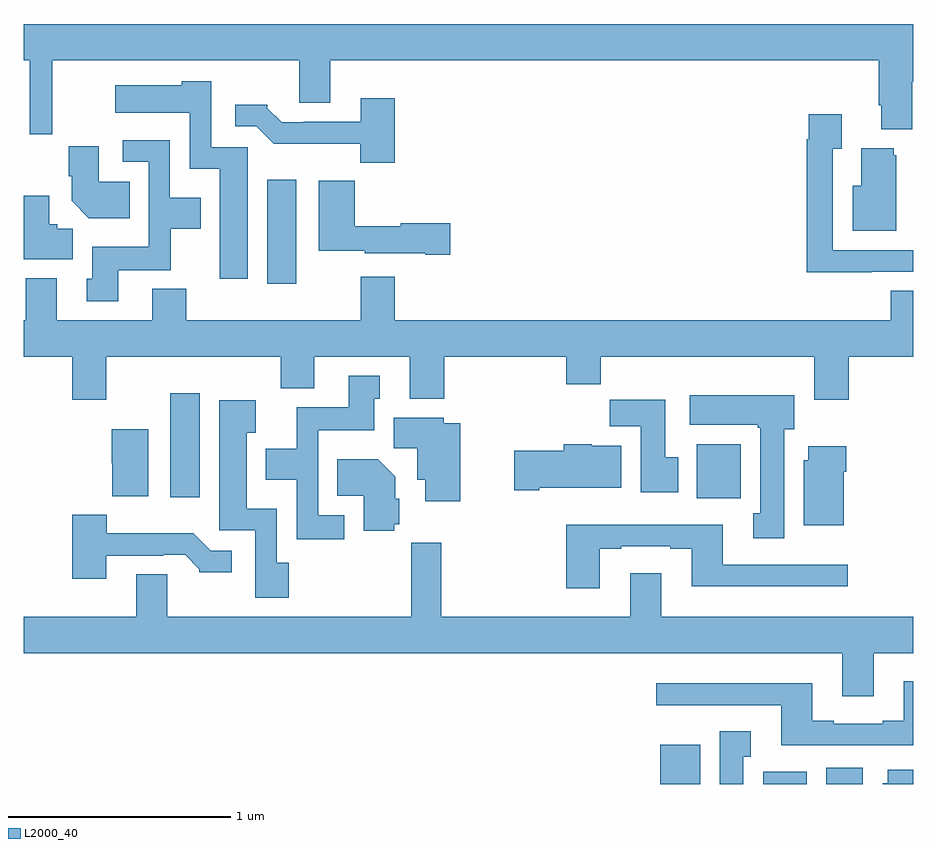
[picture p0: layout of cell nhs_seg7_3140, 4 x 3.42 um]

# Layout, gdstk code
import gdstk
lib = gdstk.Library(unit=1e-6, precision=1e-09)
def R(c, l, rs):  # rectangles x0, y0, x1, y1
    for r in rs: c.add(gdstk.rectangle(r[:2], r[2:], *l))
def P(c, l, *ps):  # polygons
    for p in ps: c.add(gdstk.Polygon(p, *l))
L2000_40 = (2000, 40)

nhs_seg7_3140 = lib.new_cell('nhs_seg7_3140')
R(nhs_seg7_3140, L2000_40, [(313.862,1028,314.041,1028.176), (314.324,1028,314.521,1028.056), (314.609,1028,314.773,1028.074), (314.027,1029.284,314.224,1029.526), (311.66,1029.288,311.791,1029.757), (312.095,1030.248,312.226,1030.717)])
P(nhs_seg7_3140, L2000_40, [(311.129,1031.252),(312.239,1031.252),(312.239,1031.062),(312.379,1031.062),(312.379,1031.252),(314.843,1031.252),(314.843,1031.05),(314.855,1031.05),(314.855,1030.943),(314.995,1030.943),(314.995,1031.156),(315,1031.156),(315,1031.416),(311,1031.416),(311,1031.252),(311.027,1031.252),(311.027,1030.92),(311.129,1030.92)],
  [(312.007,1030.863),(311.844,1030.863),(311.844,1031.158),(311.712,1031.158),(311.712,1031.14),(311.412,1031.14),(311.412,1031.018),(311.748,1031.018),(311.748,1030.766),(311.882,1030.766),(311.882,1030.272),(312.007,1030.272)],
  [(312.668,1031.083),(312.515,1031.083),(312.515,1030.977),(312.259,1030.977),(312.259,1030.974),(312.16,1030.974),(312.096,1031.038),(312.096,1031.053),(311.952,1031.053),(311.952,1030.956),(312.045,1030.956),(312.124,1030.878),(312.513,1030.878),(312.513,1030.793),(312.668,1030.793)],
  [(314.813,1030.302),(315,1030.302),(315,1030.398),(314.637,1030.398),(314.637,1030.855),(314.677,1030.855),(314.677,1031.011),(314.529,1031.011),(314.529,1030.898),(314.521,1030.898),(314.521,1030.301),(314.813,1030.301)],
  [(311.425,1030.31),(311.661,1030.31),(311.661,1030.496),(311.797,1030.496),(311.797,1030.636),(311.658,1030.636),(311.658,1030.893),(311.445,1030.893),(311.445,1030.797),(311.562,1030.797),(311.562,1030.414),(311.309,1030.414),(311.309,1030.272),(311.285,1030.272),(311.285,1030.17),(311.425,1030.17)],
  [(311.477,1030.708),(311.338,1030.708),(311.338,1030.867),(311.204,1030.867),(311.204,1030.732),(311.216,1030.732),(311.216,1030.622),(311.294,1030.544),(311.477,1030.544)],
  [(314.923,1030.827),(314.912,1030.827),(314.912,1030.858),(314.765,1030.858),(314.765,1030.69),(314.726,1030.69),(314.726,1030.487),(314.923,1030.487)],
  [(312.919,1030.52),(312.696,1030.52),(312.696,1030.507),(312.488,1030.507),(312.488,1030.711),(312.326,1030.711),(312.326,1030.397),(312.534,1030.397),(312.534,1030.385),(312.806,1030.385),(312.806,1030.378),(312.919,1030.378)],
  [(311.221,1030.496),(311.151,1030.496),(311.151,1030.515),(311.116,1030.515),(311.116,1030.645),(311,1030.645),(311,1030.358),(311.221,1030.358)],
  [(311.371,1029.92),(312.155,1029.92),(312.155,1029.779),(312.307,1029.779),(312.307,1029.92),(312.737,1029.92),(312.737,1029.731),(312.89,1029.731),(312.89,1029.92),(313.439,1029.92),(313.439,1029.796),(313.595,1029.796),(313.595,1029.92),(314.555,1029.92),(314.555,1029.726),(314.708,1029.726),(314.708,1029.92),(315,1029.92),(315,1030.217),(314.897,1030.217),(314.897,1030.084),(312.668,1030.084),(312.668,1030.279),(312.515,1030.279),(312.515,1030.084),(311.732,1030.084),(311.732,1030.225),(311.579,1030.225),(311.579,1030.084),(311.149,1030.084),(311.149,1030.273),(311.009,1030.273),(311.009,1030.084),(311,1030.084),(311,1029.92),(311.219,1029.92),(311.219,1029.726),(311.371,1029.726)],
  [(312.442,1029.207),(312.324,1029.207),(312.324,1029.59),(312.577,1029.59),(312.577,1029.732),(312.601,1029.732),(312.601,1029.835),(312.461,1029.835),(312.461,1029.694),(312.227,1029.694),(312.227,1029.507),(312.089,1029.507),(312.089,1029.368),(312.228,1029.368),(312.228,1029.099),(312.442,1029.099)],
  [(314.419,1029.594),(314.464,1029.594),(314.464,1029.748),(313.995,1029.748),(313.995,1029.614),(314.299,1029.614),(314.299,1029.601),(314.312,1029.601),(314.312,1029.218),(314.279,1029.218),(314.279,1029.105),(314.419,1029.105)],
  [(313.942,1029.468),(313.885,1029.468),(313.885,1029.727),(313.636,1029.727),(313.636,1029.608),(313.775,1029.608),(313.775,1029.312),(313.942,1029.312)],
  [(312.191,1028.994),(312.138,1028.994),(312.138,1029.238),(312.004,1029.238),(312.004,1029.578),(312.043,1029.578),(312.043,1029.724),(311.879,1029.724),(311.879,1029.141),(312.042,1029.141),(312.042,1028.838),(312.191,1028.838)],
  [(312.964,1029.622),(312.888,1029.622),(312.888,1029.646),(312.665,1029.646),(312.665,1029.508),(312.77,1029.508),(312.77,1029.368),(312.806,1029.368),(312.806,1029.27),(312.964,1029.27)],
  [(311.56,1029.595),(311.396,1029.595),(311.396,1029.441),(311.398,1029.441),(311.398,1029.293),(311.56,1029.293)],
  [(313.318,1029.332),(313.687,1029.332),(313.687,1029.52),(313.554,1029.52),(313.554,1029.526),(313.429,1029.526),(313.429,1029.498),(313.206,1029.498),(313.206,1029.32),(313.318,1029.32)],
  [(314.686,1029.404),(314.699,1029.404),(314.699,1029.517),(314.528,1029.517),(314.528,1029.456),(314.507,1029.456),(314.507,1029.164),(314.686,1029.164)],
  [(312.666,1029.168),(312.688,1029.168),(312.688,1029.282),(312.67,1029.282),(312.67,1029.382),(312.592,1029.46),(312.409,1029.46),(312.409,1029.296),(312.53,1029.296),(312.53,1029.139),(312.666,1029.139)],
  [(311.371,1029.027),(311.627,1029.027),(311.627,1029.03),(311.726,1029.03),(311.79,1028.966),(311.79,1028.951),(311.935,1028.951),(311.935,1029.048),(311.841,1029.048),(311.763,1029.127),(311.374,1029.127),(311.374,1029.211),(311.219,1029.211),(311.219,1028.922),(311.371,1028.922)],
  [(313.591,1029.057),(313.687,1029.057),(313.687,1029.069),(313.907,1029.069),(313.907,1029.057),(314.003,1029.057),(314.003,1028.888),(314.704,1028.888),(314.704,1028.985),(314.143,1028.985),(314.143,1029.166),(313.439,1029.166),(313.439,1028.88),(313.591,1028.88)],
  [(314.821,1028.588),(315,1028.588),(315,1028.752),(313.867,1028.752),(313.867,1028.947),(313.727,1028.947),(313.727,1028.752),(312.878,1028.752),(312.878,1029.085),(312.742,1029.085),(312.742,1028.752),(311.647,1028.752),(311.647,1028.942),(311.507,1028.942),(311.507,1028.752),(311,1028.752),(311,1028.588),(314.681,1028.588),(314.681,1028.394),(314.821,1028.394)],
  [(315,1028.461),(314.957,1028.461),(314.957,1028.284),(314.861,1028.284),(314.861,1028.271),(314.641,1028.271),(314.641,1028.284),(314.545,1028.284),(314.545,1028.452),(313.845,1028.452),(313.845,1028.355),(314.405,1028.355),(314.405,1028.175),(315,1028.175)],
  [(314.236,1028.123),(314.269,1028.123),(314.269,1028.236),(314.129,1028.236),(314.129,1028),(314.236,1028)],
  [(315,1028.065),(314.885,1028.065),(314.885,1028.004),(314.861,1028.004),(314.861,1028),(315,1028)])

lib.write_gds('nhs_seg7_3140.gds')
